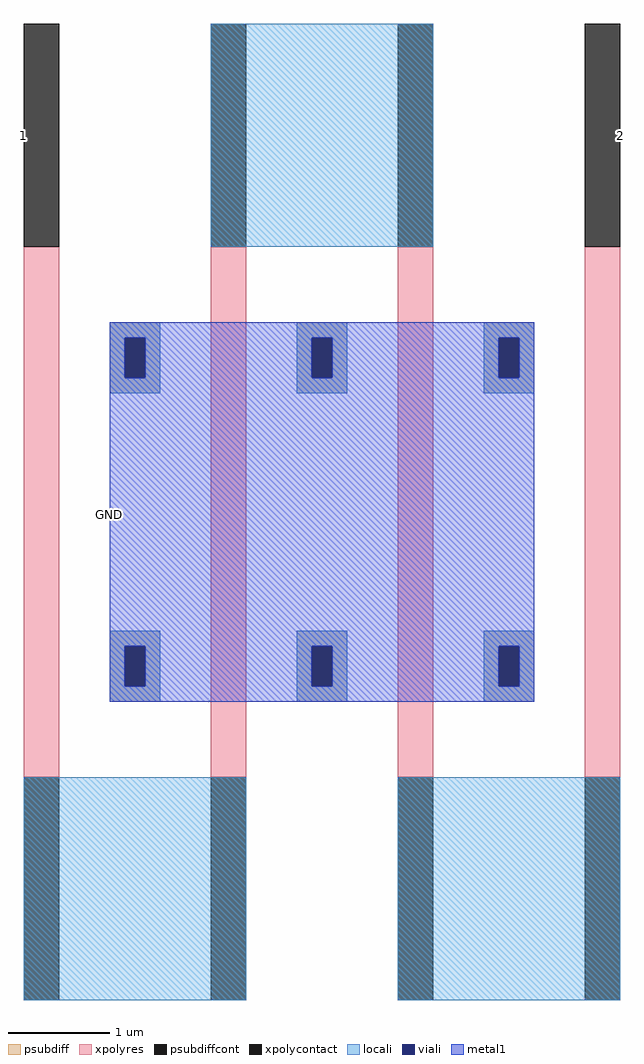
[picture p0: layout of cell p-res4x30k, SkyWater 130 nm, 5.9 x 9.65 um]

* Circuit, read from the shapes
.subckt p-res4x30k 1 2 GND
XR1 1 p-res30k_1/1 GND sky130_fd_pr__res_xhigh_po w=0.35 l=5.25
XR2 p-res30k_2/1 p-res30k_1/1 GND sky130_fd_pr__res_xhigh_po w=0.35 l=5.25
XR3 p-res30k_2/1 p-res30k_2/2 GND sky130_fd_pr__res_xhigh_po w=0.35 l=5.25
XR4 2 p-res30k_2/2 GND sky130_fd_pr__res_xhigh_po w=0.35 l=5.25
.ends

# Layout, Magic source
magic
tech sky130A
<< psubdiff >>
rect 270 655 320 670
rect 270 615 285 655
rect 305 615 320 655
rect 270 600 320 615
rect 455 655 505 670
rect 455 615 470 655
rect 490 615 505 655
rect 455 600 505 615
<< psubdiffcont >>
rect 285 615 305 655
rect 470 615 490 655
<< xpolycontact >>
rect 0 745 35 965
rect 555 745 590 965
<< locali >>
rect 185 745 405 965
rect 270 655 320 670
rect 270 615 285 655
rect 305 615 320 655
rect 270 600 320 615
rect 455 655 505 670
rect 455 615 470 655
rect 490 615 505 655
rect 455 600 505 615
rect 0 0 220 220
rect 370 0 590 220
<< viali >>
rect 100 615 120 655
rect 285 615 305 655
rect 470 615 490 655
rect 100 310 120 350
rect 285 310 305 350
rect 470 310 490 350
<< metal1 >>
rect 85 655 505 670
rect 85 615 100 655
rect 120 615 285 655
rect 305 615 470 655
rect 490 615 505 655
rect 85 350 505 615
rect 85 310 100 350
rect 120 310 285 350
rect 305 310 470 350
rect 490 310 505 350
rect 85 295 505 310
use p-res30k  p-res30k_3
transform 1 0 555 0 1 395
box -100 -395 35 570
use p-res30k  p-res30k_2
transform 1 0 370 0 1 395
box -100 -395 35 570
use p-res30k  p-res30k_1
transform 1 0 185 0 -1 570
box -100 -395 35 570
use p-res30k  p-res30k_0
transform -1 0 35 0 1 395
box -100 -395 35 570
<< labels >>
rlabel metal1 85 480 85 480 7 GND
rlabel xpolycontact 0 855 0 855 7 1
rlabel xpolycontact 590 855 590 855 3 2
<< end >>

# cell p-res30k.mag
magic
tech sky130A
<< psubdiff >>
rect -100 -45 -50 -30
rect -100 -85 -85 -45
rect -65 -85 -50 -45
rect -100 -100 -50 -85
<< psubdiffcont >>
rect -85 -85 -65 -45
<< xpolycontact >>
rect 0 350 35 570
rect 0 -395 35 -175
<< xpolyres >>
rect 0 -175 35 350
<< locali >>
rect -100 -45 -50 -30
rect -100 -85 -85 -45
rect -65 -85 -50 -45
rect -100 -100 -50 -85
<< labels >>
rlabel xpolycontact 0 460 0 460 7 1
rlabel xpolycontact 0 -285 0 -285 7 2
rlabel locali -100 -70 -100 -70 7 GND
<< end >>
